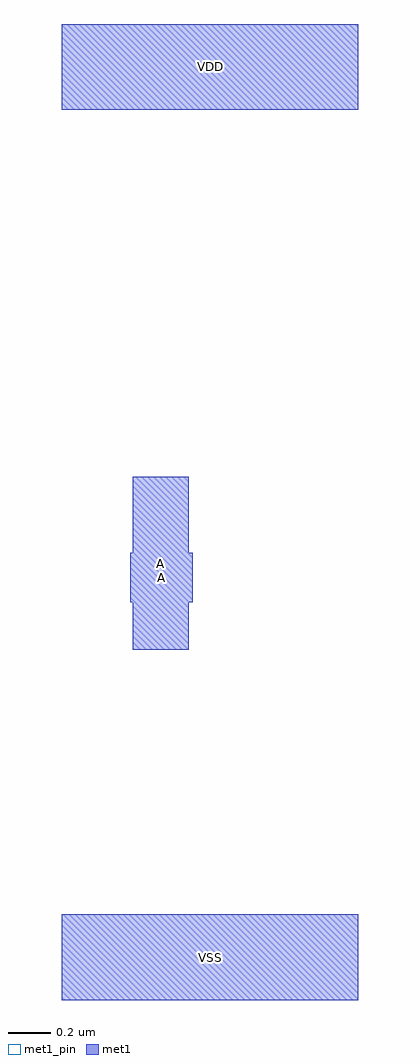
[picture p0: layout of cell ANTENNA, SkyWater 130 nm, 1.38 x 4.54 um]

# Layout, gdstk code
import gdstk
lib = gdstk.Library(unit=1e-6, precision=1e-09)
def R(c, l, rs):  # rectangles x0, y0, x1, y1
    for r in rs: c.add(gdstk.rectangle(r[:2], r[2:], *l))
met1_pin = (68, 16)
met1 = (68, 20)

antenna = lib.new_cell('ANTENNA')
R(antenna, met1_pin, [(0,-0.2,1.38,0.2), (0.33,1.43,0.59,2.235), (0.32,1.65,0.61,1.88), (0,3.94,1.38,4.34)])
R(antenna, met1, [(0,-0.2,1.38,0.2), (0.33,1.43,0.59,2.235), (0.32,1.65,0.61,1.88), (0,3.94,1.38,4.34)])
antenna.add(gdstk.Label('A', (0.465,1.765), layer=68, texttype=5))
antenna.add(gdstk.Label('A', (0.465,1.765), layer=68, texttype=16))
antenna.add(gdstk.Label('A', (0.465,1.765), layer=68, texttype=0))
antenna.add(gdstk.Label('A', (0.46,1.832), layer=68, texttype=5))
antenna.add(gdstk.Label('A', (0.46,1.832), layer=68, texttype=16))
antenna.add(gdstk.Label('A', (0.46,1.832), layer=68, texttype=0))
antenna.add(gdstk.Label('VDD', (0.69,4.14), layer=68, texttype=5))
antenna.add(gdstk.Label('VDD', (0.69,4.14), layer=68, texttype=16))
antenna.add(gdstk.Label('VDD', (0.69,4.14), layer=68, texttype=0))
antenna.add(gdstk.Label('VSS', (0.69,0), layer=68, texttype=5))
antenna.add(gdstk.Label('VSS', (0.69,0), layer=68, texttype=16))
antenna.add(gdstk.Label('VSS', (0.69,0), layer=68, texttype=0))

lib.write_gds('ANTENNA.gds')
